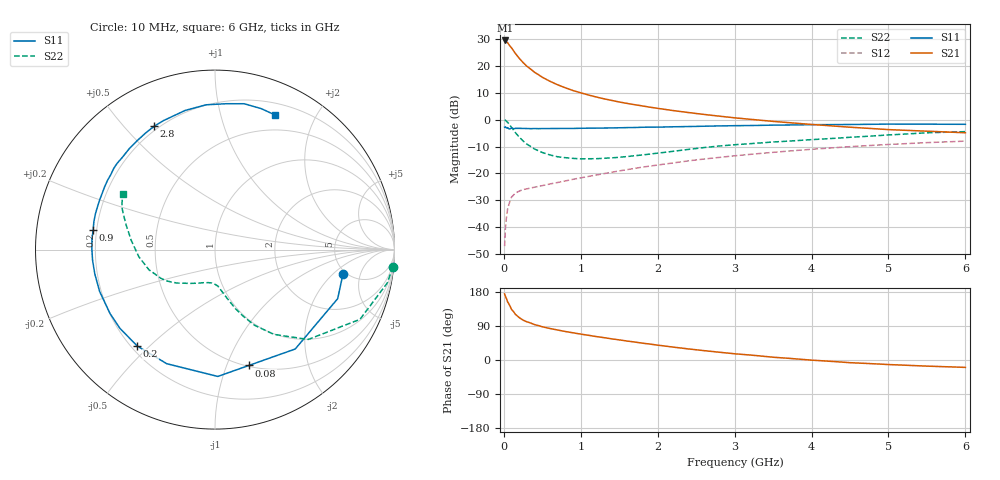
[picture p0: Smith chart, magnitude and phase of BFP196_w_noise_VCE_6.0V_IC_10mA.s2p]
! (c) 2017  Infineon Technologies AG, Munich
! Infineon Technologies  Discrete & RF Semiconductors
! BFP196
! VCE =  6.0 V,  IC =  10 mA
! Common Emitter S-Parameters:  Jan 2017
# GHz  S  MA  R  50
!  f  S11  S21  S12  S22
! GHz  MAG  ANG  MAG  ANG  MAG  ANG  MAG  ANG
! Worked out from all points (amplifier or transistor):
!   77 points, 10 MHz to 6 GHz, reference 50 ohm
!   highest |S21| = 29.5 dB at 20 MHz (marker M1)
!   |S21| within 3 dB of that: start of sweep to 105.8 MHz
!   unconditionally stable (mu >= 1): 1.001 GHz to 2.375 GHz
!   at 130 MHz: K = 0.23, MSG = 26.7 dB, |S12| = -28.0 dB
!   at 2.2 GHz: K = 1.02, MAG = 8.8 dB, |S12| = -16.1 dB
!   at 6 GHz: K = 0.92, MSG = 1.6 dB, |S12| = -8.0 dB
!   lowest NFmin = 0.99 dB at 450 MHz
!   S11 on the Smith chart (normalised r, x): 10 MHz: 4.65, -2.72; 80 MHz: 0.51, -1.20; 200 MHz: 0.22, -0.46; 900 MHz: 0.19, +0.08; 2.8 GHz: 0.18, +0.61; 6 GHz: 0.33, +1.50
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0.01  0.7258 -11.0  29.83 174.3  0.0044 83.2  0.9958 -5.5
0.02  0.7362 -21.8  29.97 168.7  0.0093 79.4  0.9774 -11.0
0.05  0.7117 -51.1  27.12 153.0  0.022 66.7  0.8964 -25.7
0.08  0.6725 -73.7  23.58 142.3  0.0303 56.8  0.7817 -35.7
0.1  0.7069 -88.7  21.8 133.5  0.0362 52.8  0.7217 -43.9
0.15  0.6902 -112.9  17.18 120.6  0.0428 43.7  0.5753 -55.2
0.2  0.6901 -128.9  13.95 111.9  0.0467 39.7  0.4747 -62.5
0.25  0.6878 -140.4  11.62 105.2  0.05 36.9  0.4017 -67.1
0.3  0.6848 -148.6  9.898 100.7  0.0515 36.8  0.3496 -70.8
0.4  0.6838 -160.1  7.636 93.3  0.0553 37.0  0.2834 -75.7
0.5  0.6833 -168.6  6.176 87.7  0.0591 38.6  0.2449 -79.5
0.6  0.6847 -175.1  5.196 83.1  0.0635 40.5  0.2204 -82.8
0.7  0.6862 179.8  4.469 79.1  0.0676 42.4  0.2037 -85.5
0.9  0.6877 170.9  3.495 71.7  0.0776 46.0  0.1904 -91.9
1.1  0.6953 163.4  2.888 65.2  0.0877 48.1  0.1872 -98.1
1.5  0.7075 150.4  2.139 53.1  0.1111 50.7  0.1995 -112.0
2.1  0.7321 132.9  1.552 36.7  0.1496 49.9  0.2475 -130.7
2.8  0.7662 116.2  1.165 20.5  0.1982 45.3  0.3235 -147.6
3.1  0.7759 109.8  1.051 14.8  0.2191 42.6  0.3492 -154.6
4.1  0.8084 91.9  0.797 -1.6  0.2876 32.2  0.4331 -177.1
5.1  0.8273 77.3  0.645 -12.8  0.3512 20.2  0.5295 161.7
6  0.8211 65.8  0.571 -19.5  0.3991 9.2  0.5998 149.1
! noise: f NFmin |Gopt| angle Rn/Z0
0.45  0.99  0.35  147  0.06
0.9  1.29  0.5  174  0.05
1.9  2.4  0.7  -139  0.25
2.4  2.9  0.73  -123  0.68
